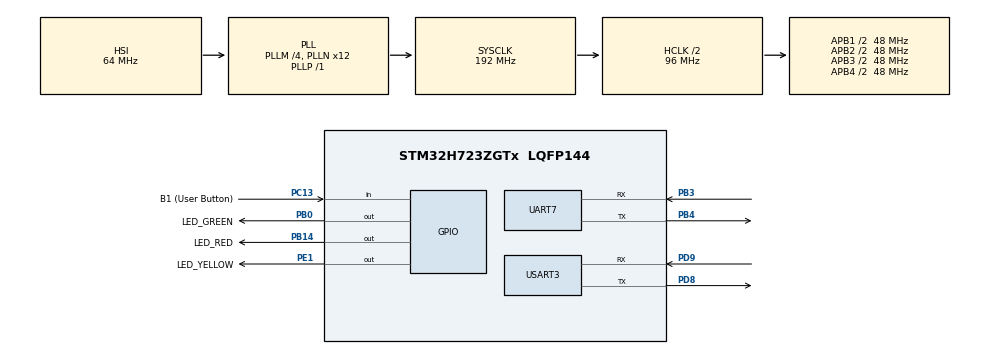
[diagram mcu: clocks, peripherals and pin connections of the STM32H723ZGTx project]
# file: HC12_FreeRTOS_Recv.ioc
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CORTEX_M7.default_mode_Activation=1
FREERTOS.Tasks01=defaultTask,24,128,StartDefaultTask,Default,NULL,Dynamic,NULL,NULL
FREERTOS.configENABLE_FPU=1
FREERTOS.configUSE_NEWLIB_REENTRANT=1
Mcu.Family=STM32H7
Mcu.Name=STM32H723ZGTx
Mcu.Package=LQFP144
NUCLEO-H723ZG.Bsp_Common_DEMO=true
NUCLEO-H723ZG.VCP=false
NVIC.PriorityGroup=NVIC_PRIORITYGROUP_4
NVIC.TIM4_IRQn=true\:15\:0\:false\:false\:true\:false\:false\:true\:true
NVIC.TimeBase=TIM4_IRQn
NVIC.TimeBaseIP=TIM4
NVIC.UART7_IRQn=true\:5\:0\:false\:false\:true\:true\:true\:true\:true
NVIC.USART3_IRQn=true\:5\:0\:false\:false\:true\:true\:true\:true\:true
PA13(JTMS/SWDIO).GPIO_Label=SWDIO
PA13(JTMS/SWDIO).Signal=DEBUG_JTMS-SWDIO
PA14(JTCK/SWCLK).GPIO_Label=SWCLK
PA14(JTCK/SWCLK).Signal=DEBUG_JTCK-SWCLK
PB0.GPIO_Label=LED_GREEN
PB0.Signal=GPIO_Output
PB14.GPIO_Label=LED_RED
PB14.Signal=GPIO_Output
PB3(JTDO/TRACESWO).Mode=Asynchronous
PB3(JTDO/TRACESWO).Signal=UART7_RX
PB4(NJTRST).Mode=Asynchronous
PB4(NJTRST).Signal=UART7_TX
PC13.GPIO_Label=B1 (User Button)
PC13.Signal=GPIO_Input
PC14-OSC32_IN.Signal=RCC_OSC32_IN
PC15-OSC32_OUT.Signal=RCC_OSC32_OUT
PD8.Mode=Asynchronous
PD8.Signal=USART3_TX
PD9.Mode=Asynchronous
PD9.Signal=USART3_RX
PE1.GPIO_Label=LED_YELLOW
PE1.Signal=GPIO_Output
ProjectManager.HeapSize=0x200
ProjectManager.StackSize=0x400
ProjectManager.TargetToolchain=STM32CubeIDE
RCC.ADCFreq_Value=608000000
RCC.APB1Freq_Value=48000000
RCC.APB2Freq_Value=48000000
RCC.APB3Freq_Value=48000000
RCC.APB4Freq_Value=48000000
RCC.CortexFreq_Value=192000000
RCC.D1PPRE=RCC_APB3_DIV2
RCC.D2PPRE1=RCC_APB1_DIV2
RCC.D2PPRE2=RCC_APB2_DIV2
RCC.D3PPRE=RCC_APB4_DIV2
RCC.DIVM1=4
RCC.DIVM2=1
RCC.DIVN1=12
RCC.DIVN2=19
RCC.DIVP1=1
RCC.DIVQ1=4
RCC.HCLKFreq_Value=96000000
RCC.HPRE=RCC_HCLK_DIV2
RCC.HSE_VALUE=8000000
RCC.PLLFRACN=0
RCC.SYSCLKFreq_VALUE=192000000
RCC.SYSCLKSource=RCC_SYSCLKSOURCE_PLLCLK
RCC.USBCLockSelection=RCC_USBCLKSOURCE_HSI48
RCC.USBFreq_Value=48000000
USART3.VirtualMode-Asynchronous=VM_ASYNC
VP_FREERTOS_VS_CMSIS_V2.Mode=CMSIS_V2
VP_MEMORYMAP_VS_MEMORYMAP.Mode=CurAppReg
VP_NUCLEO-H723ZG_VS_BSP_COMMON.Mode=COMMON
VP_SYS_VS_tim4.Mode=TIM4
board=NUCLEO-H723ZG

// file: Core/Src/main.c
/* USER CODE BEGIN Header */
/**
  ******************************************************************************
  * @file           : main.c
  * @brief          : Main program body
  ******************************************************************************
  * @attention
  *
  * Copyright (c) 2025 STMicroelectronics.
  * All rights reserved.
  *
  * This software is licensed under terms that can be found in the LICENSE file
  * in the root directory of this software component.
  * If no LICENSE file comes with this software, it is provided AS-IS.
  *
  ******************************************************************************
  */
/* USER CODE END Header */
#include "main.h"
#include "cmsis_os.h"

/* USER CODE BEGIN Includes */
#include <string.h>
#include <stdio.h>
/* USER CODE END Includes */

/* USER CODE BEGIN PD */
#define UART_QUEUE_SIZE 10
/* USER CODE END PD */

__IO uint32_t BspButtonState = BUTTON_RELEASED;

UART_HandleTypeDef huart7;
UART_HandleTypeDef husart3;
/* Definitions for defaultTask */
osThreadId_t defaultTaskHandle;
const osThreadAttr_t defaultTask_attributes = {
  .name = "defaultTask",
  .stack_size = 128 * 4,
  .priority = (osPriority_t) osPriorityNormal,
};

/* USER CODE BEGIN PV */
UART_HandleTypeDef husart3;
uint8_t rx_buffer[sizeof(uint32_t)];	// 수신 버퍼
osMessageQueueId_t uartQueueHandle;

const osThreadAttr_t uartTask_attributes = {
  .name = "UARTTask",
  .stack_size = 128*4,
  .priority=osPriorityNormal,
};

const osThreadAttr_t hc12comserialTask_attributes = {
  .name = "HC12ComSERIALTask",
  .stack_size = 128*4,
  .priority=osPriorityNormal,
};
/* USER CODE END PV */

void SystemClock_Config(void);
static void MPU_Config(void);
static void MX_GPIO_Init(void);
static void MX_UART7_Init(void);
static void MX_USART3_UART_Init(void);
void StartDefaultTask(void *argument);

/* USER CODE BEGIN PFP */
int _write(int, char*, int);
void HAL_UART_RxCpltCallback(UART_HandleTypeDef *huart);

void UARTTask(void *);
void HC12ComSERIALTask(void *);

/* USER CODE END PFP */

int main(void)
{

  /* MPU Configuration--------------------------------------------------------*/
  MPU_Config();

  /* MCU Configuration--------------------------------------------------------*/

  /* Reset of all peripherals, Initializes the Flash interface and the Systick. */
  HAL_Init();

  /* Configure the system clock */
  SystemClock_Config();

  /* Initialize all configured peripherals */
  MX_GPIO_Init();
  MX_UART7_Init();
  MX_USART3_UART_Init();
  /* USER CODE BEGIN 2 */
  uartQueueHandle = osMessageQueueNew(UART_QUEUE_SIZE, sizeof(uint32_t), NULL);

  HAL_UART_Receive_IT(&huart7, rx_buffer, sizeof(uint32_t));

  /* USER CODE END 2 */

  /* Init scheduler */
  osKernelInitialize();

  /* Create the thread(s) */
  /* creation of defaultTask */
  defaultTaskHandle = osThreadNew(StartDefaultTask, NULL, &defaultTask_attributes);

  /* USER CODE BEGIN RTOS_THREADS */
  /* add threads, ... */
  osThreadNew(UARTTask, NULL, &uartTask_attributes);
  osThreadNew(HC12ComSERIALTask, NULL, &hc12comserialTask_attributes);
  /* USER CODE END RTOS_THREADS */

  /* Start scheduler */
  osKernelStart();

  /* We should never get here as control is now taken by the scheduler */

  /* Infinite loop */
  while (1)
  {

  }
}

void SystemClock_Config(void)
{
  RCC_OscInitTypeDef RCC_OscInitStruct = {0};
  RCC_ClkInitTypeDef RCC_ClkInitStruct = {0};

  /** Supply configuration update enable
  */
  HAL_PWREx_ConfigSupply(PWR_LDO_SUPPLY);

  /** Configure the main internal regulator output voltage
  */
  __HAL_PWR_VOLTAGESCALING_CONFIG(PWR_REGULATOR_VOLTAGE_SCALE2);

  while(!__HAL_PWR_GET_FLAG(PWR_FLAG_VOSRDY)) {}

  /** Initializes the RCC Oscillators according to the specified parameters
  * in the RCC_OscInitTypeDef structure.
  */
  RCC_OscInitStruct.OscillatorType = RCC_OSCILLATORTYPE_HSI;
  RCC_OscInitStruct.HSIState = RCC_HSI_DIV1;
  RCC_OscInitStruct.HSICalibrationValue = 64;
  RCC_OscInitStruct.PLL.PLLState = RCC_PLL_ON;
  RCC_OscInitStruct.PLL.PLLSource = RCC_PLLSOURCE_HSI;
  RCC_OscInitStruct.PLL.PLLM = 4;
  RCC_OscInitStruct.PLL.PLLN = 12;
  RCC_OscInitStruct.PLL.PLLP = 1;
  RCC_OscInitStruct.PLL.PLLQ = 4;
  RCC_OscInitStruct.PLL.PLLR = 2;
  RCC_OscInitStruct.PLL.PLLRGE = RCC_PLL1VCIRANGE_3;
  RCC_OscInitStruct.PLL.PLLVCOSEL = RCC_PLL1VCOWIDE;
  RCC_OscInitStruct.PLL.PLLFRACN = 0;
  if (HAL_RCC_OscConfig(&RCC_OscInitStruct) != HAL_OK)
  {
    Error_Handler();
  }

  /** Initializes the CPU, AHB and APB buses clocks
  */
  RCC_ClkInitStruct.ClockType = RCC_CLOCKTYPE_HCLK|RCC_CLOCKTYPE_SYSCLK
                              |RCC_CLOCKTYPE_PCLK1|RCC_CLOCKTYPE_PCLK2
                              |RCC_CLOCKTYPE_D3PCLK1|RCC_CLOCKTYPE_D1PCLK1;
  RCC_ClkInitStruct.SYSCLKSource = RCC_SYSCLKSOURCE_PLLCLK;
  RCC_ClkInitStruct.SYSCLKDivider = RCC_SYSCLK_DIV1;
  RCC_ClkInitStruct.AHBCLKDivider = RCC_HCLK_DIV2;
  RCC_ClkInitStruct.APB3CLKDivider = RCC_APB3_DIV2;
  RCC_ClkInitStruct.APB1CLKDivider = RCC_APB1_DIV2;
  RCC_ClkInitStruct.APB2CLKDivider = RCC_APB2_DIV2;
  RCC_ClkInitStruct.APB4CLKDivider = RCC_APB4_DIV2;

  if (HAL_RCC_ClockConfig(&RCC_ClkInitStruct, FLASH_LATENCY_1) != HAL_OK)
  {
    Error_Handler();
  }
}

static void MX_UART7_Init(void)
{

  huart7.Instance = UART7;
  huart7.Init.BaudRate = 115200;
  huart7.Init.WordLength = UART_WORDLENGTH_8B;
  huart7.Init.StopBits = UART_STOPBITS_1;
  huart7.Init.Parity = UART_PARITY_NONE;
  huart7.Init.Mode = UART_MODE_TX_RX;
  huart7.Init.HwFlowCtl = UART_HWCONTROL_NONE;
  huart7.Init.OverSampling = UART_OVERSAMPLING_16;
  huart7.Init.OneBitSampling = UART_ONE_BIT_SAMPLE_DISABLE;
  huart7.Init.ClockPrescaler = UART_PRESCALER_DIV1;
  huart7.AdvancedInit.AdvFeatureInit = UART_ADVFEATURE_NO_INIT;
  if (HAL_UART_Init(&huart7) != HAL_OK)
  {
    Error_Handler();
  }
  if (HAL_UARTEx_SetTxFifoThreshold(&huart7, UART_TXFIFO_THRESHOLD_1_8) != HAL_OK)
  {
    Error_Handler();
  }
  if (HAL_UARTEx_SetRxFifoThreshold(&huart7, UART_RXFIFO_THRESHOLD_1_8) != HAL_OK)
  {
    Error_Handler();
  }
  if (HAL_UARTEx_DisableFifoMode(&huart7) != HAL_OK)
  {
    Error_Handler();
  }

}

static void MX_USART3_UART_Init(void)
{

  husart3.Instance = USART3;
  husart3.Init.BaudRate = 115200;
  husart3.Init.WordLength = UART_WORDLENGTH_8B;
  husart3.Init.StopBits = UART_STOPBITS_1;
  husart3.Init.Parity = UART_PARITY_NONE;
  husart3.Init.Mode = UART_MODE_TX_RX;
  husart3.Init.HwFlowCtl = UART_HWCONTROL_NONE;
  husart3.Init.OverSampling = UART_OVERSAMPLING_16;
  husart3.Init.OneBitSampling = UART_ONE_BIT_SAMPLE_DISABLE;
  husart3.Init.ClockPrescaler = UART_PRESCALER_DIV1;
  husart3.AdvancedInit.AdvFeatureInit = UART_ADVFEATURE_NO_INIT;
  if (HAL_UART_Init(&husart3) != HAL_OK)
  {
    Error_Handler();
  }
  if (HAL_UARTEx_SetTxFifoThreshold(&husart3, UART_TXFIFO_THRESHOLD_1_8) != HAL_OK)
  {
    Error_Handler();
  }
  if (HAL_UARTEx_SetRxFifoThreshold(&husart3, UART_RXFIFO_THRESHOLD_1_8) != HAL_OK)
  {
    Error_Handler();
  }
  if (HAL_UARTEx_DisableFifoMode(&husart3) != HAL_OK)
  {
    Error_Handler();
  }

}

static void MX_GPIO_Init(void)
{
  GPIO_InitTypeDef GPIO_InitStruct = {0};

  /* GPIO Ports Clock Enable */
  __HAL_RCC_GPIOC_CLK_ENABLE();
  __HAL_RCC_GPIOB_CLK_ENABLE();
  __HAL_RCC_GPIOD_CLK_ENABLE();
  __HAL_RCC_GPIOA_CLK_ENABLE();
  __HAL_RCC_GPIOE_CLK_ENABLE();

  /*Configure GPIO pin Output Level */
  HAL_GPIO_WritePin(GPIOB, LED_GREEN_Pin|LED_RED_Pin, GPIO_PIN_RESET);

  /*Configure GPIO pin Output Level */
  HAL_GPIO_WritePin(LED_YELLOW_GPIO_Port, LED_YELLOW_Pin, GPIO_PIN_RESET);

  /*Configure GPIO pin : B1_Pin */
  GPIO_InitStruct.Pin = B1_Pin;
  GPIO_InitStruct.Mode = GPIO_MODE_INPUT;
  GPIO_InitStruct.Pull = GPIO_NOPULL;
  HAL_GPIO_Init(B1_GPIO_Port, &GPIO_InitStruct);

  /*Configure GPIO pins : LED_GREEN_Pin LED_RED_Pin */
  GPIO_InitStruct.Pin = LED_GREEN_Pin|LED_RED_Pin;
  GPIO_InitStruct.Mode = GPIO_MODE_OUTPUT_PP;
  GPIO_InitStruct.Pull = GPIO_NOPULL;
  GPIO_InitStruct.Speed = GPIO_SPEED_FREQ_LOW;
  HAL_GPIO_Init(GPIOB, &GPIO_InitStruct);

  /*Configure GPIO pin : LED_YELLOW_Pin */
  GPIO_InitStruct.Pin = LED_YELLOW_Pin;
  GPIO_InitStruct.Mode = GPIO_MODE_OUTPUT_PP;
  GPIO_InitStruct.Pull = GPIO_NOPULL;
  GPIO_InitStruct.Speed = GPIO_SPEED_FREQ_LOW;
  HAL_GPIO_Init(LED_YELLOW_GPIO_Port, &GPIO_InitStruct);

}

/* USER CODE BEGIN 4 */
int _write(int file, char*ptr, int len)
{
	HAL_UART_Transmit(&husart3, (uint8_t*)ptr, len, HAL_MAX_DELAY);
	return len;
}

void HAL_UART_RxCpltCallback(UART_HandleTypeDef *huart)
{
	if(huart->Instance == UART7)
	{
		uint32_t received_value;
		memcpy(&received_value, rx_buffer, sizeof(received_value));

		osMessageQueuePut(uartQueueHandle, &received_value, 0, 0);

		HAL_UART_Receive_IT(&huart7, rx_buffer, sizeof(received_value));
	}
}

void UARTTask(void *argument)
{
	uint32_t msg;
	char txBuffer[32];

	for(;;)
	{
		if(osMessageQueueGet(uartQueueHandle, &msg, NULL, osWaitForever) == osOK)
		{
			sprintf(txBuffer, "Received: %lu\r\n", msg);
			HAL_UART_Transmit(&husart3, (uint8_t*)txBuffer, strlen(txBuffer), HAL_MAX_DELAY);
		}
	}
}

void HC12ComSERIALTask(void* argument)
{
	for(;;)
	{
		printf("HC-12 TASK\r\n");
		osDelay(1000);
	}
}
/* USER CODE END 4 */

void StartDefaultTask(void *argument)
{
  for(;;)
  {
    osDelay(1);
  }
}

 /* MPU Configuration */

void MPU_Config(void)
{
  MPU_Region_InitTypeDef MPU_InitStruct = {0};

  /* Disables the MPU */
  HAL_MPU_Disable();

  /** Initializes and configures the Region and the memory to be protected
  */
  MPU_InitStruct.Enable = MPU_REGION_ENABLE;
  MPU_InitStruct.Number = MPU_REGION_NUMBER0;
  MPU_InitStruct.BaseAddress = 0x0;
  MPU_InitStruct.Size = MPU_REGION_SIZE_4GB;
  MPU_InitStruct.SubRegionDisable = 0x87;
  MPU_InitStruct.TypeExtField = MPU_TEX_LEVEL0;
  MPU_InitStruct.AccessPermission = MPU_REGION_NO_ACCESS;
  MPU_InitStruct.DisableExec = MPU_INSTRUCTION_ACCESS_DISABLE;
  MPU_InitStruct.IsShareable = MPU_ACCESS_SHAREABLE;
  MPU_InitStruct.IsCacheable = MPU_ACCESS_NOT_CACHEABLE;
  MPU_InitStruct.IsBufferable = MPU_ACCESS_NOT_BUFFERABLE;

  HAL_MPU_ConfigRegion(&MPU_InitStruct);
  /* Enables the MPU */
  HAL_MPU_Enable(MPU_PRIVILEGED_DEFAULT);

}

void HAL_TIM_PeriodElapsedCallback(TIM_HandleTypeDef *htim)
{
  if (htim->Instance == TIM4) {
    HAL_IncTick();
  }
}

void Error_Handler(void)
{
  __disable_irq();
  while (1)
  {
  }
}
